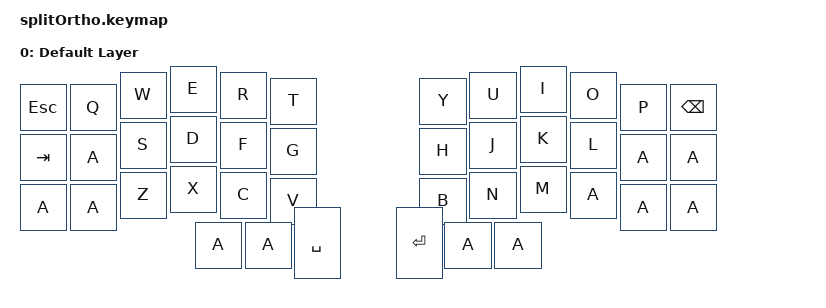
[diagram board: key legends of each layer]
#include <behaviors.dtsi>
#include <dt-bindings/zmk/keys.h>
#include <dt-bindings/zmk/bt.h>

/ {
    keymap {
        compatible = "zmk,keymap";

        default_layer {
            display-name = "Default Layer";

            //╭─────┬─────┬─────┬─────┬─────┬─────╮    ╭─────┬─────┬─────┬─────┬─────┬─────╮
            //│ ESC │  Q  │  W  │  E  │  R  │  T  │    │  Y  │  U  │  I  │  O  │  P  │ BCK │ 
            //├─────┼─────┼─────┼─────┼─────┼─────┤    ├─────┼─────┼─────┼─────┼─────┼─────┤
            //│ TAB │  A  │  S  │  D  │  F  │  G  │    │  H  │  J  │  K  │  L  │     │     │
            //├─────┼─────┼─────┼─────┼─────┤─────┤    ├─────┼─────┼─────┼─────┼─────┤─────┤
            //│     │     │  Z  │  X  │  C  │  V  │    │  B  │  N  │  M  │     │     │     │
            //╰─────┴─────┴─────┼─────┼─────┤─────┤    ├─────┼─────┼─────┼─────┴─────┴─────╯
            //                  │     │     │     │    │     │     │     │
            //                  ╰─────┴─────┴─────╯    ╰─────┴─────┴─────╯

            bindings = <
                &kp ESC  &kp Q   &kp W   &kp E   &kp R   &kp T      &kp Y   &kp U   &kp I   &kp O   &kp P  &kp BSPC
                &kp TAB  &kp A   &kp S   &kp D   &kp F   &kp G      &kp H   &kp J   &kp K   &kp L   &kp A  &kp A
                &kp A    &kp A   &kp Z   &kp X   &kp C   &kp V      &kp B   &kp N   &kp M   &kp A   &kp A  &kp A
                                         &kp A   &kp A   &kp SPACE  &kp RET &kp A   &kp A
            >;
        };
    };
};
